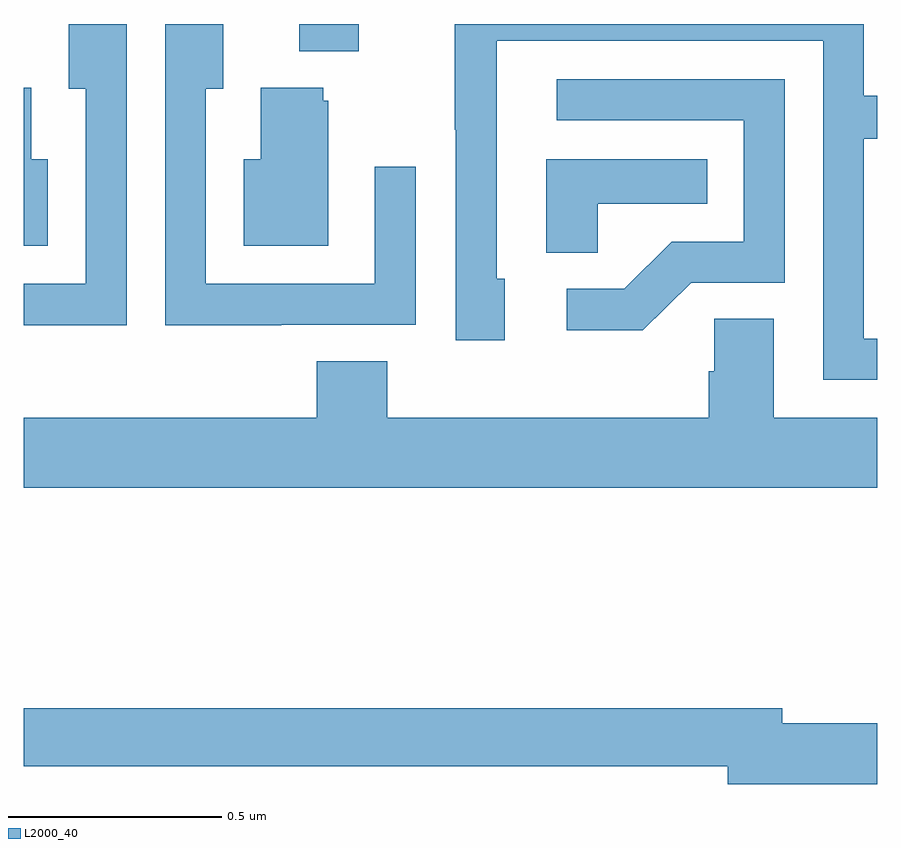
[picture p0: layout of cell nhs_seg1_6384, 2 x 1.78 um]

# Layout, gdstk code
import gdstk
lib = gdstk.Library(unit=1e-6, precision=1e-09)
def R(c, l, rs):  # rectangles x0, y0, x1, y1
    for r in rs: c.add(gdstk.rectangle(r[:2], r[2:], *l))
def P(c, l, *ps):  # polygons
    for p in ps: c.add(gdstk.Polygon(p, *l))
L2000_40 = (2000, 40)

nhs_seg1_6384 = lib.new_cell('nhs_seg1_6384')
R(nhs_seg1_6384, L2000_40, [(191.645,506.135,191.785,506.199)])
P(nhs_seg1_6384, L2000_40, [(193,505.461),(192.969,505.461),(192.969,505.93),(193,505.93),(193,506.031),(192.969,506.031),(192.969,506.199),(192.01,506.199),(192.01,505.951),(192.012,505.951),(192.012,505.458),(192.127,505.458),(192.127,505.602),(192.108,505.602),(192.108,506.16),(192.873,506.16),(192.873,505.365),(193,505.365)],
  [(191.241,506.199),(191.105,506.199),(191.105,506.047),(191.145,506.047),(191.145,505.59),(191,505.59),(191,505.493),(191.241,505.493)],
  [(191.603,505.494),(191.919,505.494),(191.919,505.864),(191.823,505.864),(191.823,505.59),(191.427,505.59),(191.427,506.047),(191.467,506.047),(191.467,506.199),(191.331,506.199),(191.331,505.493),(191.603,505.493)],
  [(192.564,505.593),(192.783,505.593),(192.783,506.07),(192.249,506.07),(192.249,505.974),(192.687,505.974),(192.687,505.689),(192.518,505.689),(192.407,505.578),(192.273,505.578),(192.273,505.481),(192.451,505.481)],
  [(191.056,505.882),(191.017,505.882),(191.017,506.05),(191,506.05),(191,505.679),(191.056,505.679)],
  [(191.713,506.019),(191.702,506.019),(191.702,506.05),(191.555,506.05),(191.555,505.882),(191.516,505.882),(191.516,505.679),(191.713,505.679)],
  [(192.345,505.778),(192.602,505.778),(192.602,505.882),(192.224,505.882),(192.224,505.663),(192.345,505.663)],
  [(193,505.276),(192.757,505.276),(192.757,505.508),(192.618,505.508),(192.618,505.385),(192.605,505.385),(192.605,505.276),(191.852,505.276),(191.852,505.409),(191.687,505.409),(191.687,505.276),(191,505.276),(191,505.112),(193,505.112)],
  [(193,504.56),(192.778,504.56),(192.778,504.596),(191,504.596),(191,504.46),(192.65,504.46),(192.65,504.418),(193,504.418)])

lib.write_gds('nhs_seg1_6384.gds')
